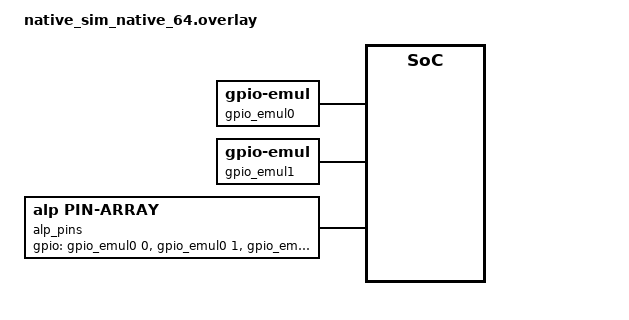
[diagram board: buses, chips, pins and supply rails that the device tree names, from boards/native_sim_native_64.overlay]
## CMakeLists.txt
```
# SPDX-License-Identifier: Apache-2.0

cmake_minimum_required(VERSION 3.20)

find_package(Zephyr REQUIRED HINTS $ENV{ZEPHYR_BASE})
project(vendor_ext_composability LANGUAGES C)

target_sources(app PRIVATE src/main.c)
```

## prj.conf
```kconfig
# SPDX-License-Identifier: Apache-2.0
#
# Intentionally empty.  Every CONFIG_* this app needs is derived
# from board.yaml by `tan build` and layered in via
# EXTRA_CONF_FILE (see scripts/gen_example_alp_conf.py).  Add app-specific tuning
# knobs here only when they are NOT feature-selection -- everything
# declarative belongs in board.yaml.
```

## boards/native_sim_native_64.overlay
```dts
/*
 * Copyright 2026 Alp Lab AB
 * SPDX-License-Identifier: Apache-2.0
 *
 * Host overlay for the vendor-ext composability demo.
 *
 * The alp,pin-array is POSITIONAL: alp_z_gpio_resolve(pin_id) indexes
 * it by the E1M GPIO index, so entry N must be E1M pad N in the
 * e1m_pinout.h canonical order (IO0..25 = 0..25, PWM0..7 = 26..33,
 * ENC0_X..ENC3_Y = 34..41, ADC0..7 = 42..49, DAC0..1 = 50..51).
 *
 * Way 1 of the demo drives ADC1's pad as a plain GPIO, i.e.
 * ALP_E1M_GPIO_ADC1 = index 43.  A gpio-emul controller maxes out at 32
 * pins, so reaching index 43 needs TWO controllers -- this overlay
 * shows the canonical split a full 52-slot board file would use:
 *   indices  0..31 -> gpio_emul0 pins 0..31
 *   indices 32..43 -> gpio_emul1 pins 0..11   (index 43 = pin 11)
 * The array stops at 43, the highest index this demo touches.
 *
 * No ADC controller is wired, so the alp-adc1 alias resolves to a
 * NULL spec and Ways 2/3 take the graceful "skip" path -- the same
 * native_sim contract examples/peripheral-io/adc-voltmeter relies on.
 */

#include <zephyr/dt-bindings/gpio/gpio.h>

/ {
    gpio_emul0: gpio_emul0 {
        compatible = "zephyr,gpio-emul";
        status = "okay";
        gpio-controller;
        rising-edge;
        falling-edge;
        #gpio-cells = <2>;
        ngpios = <32>;
    };

    gpio_emul1: gpio_emul1 {
        compatible = "zephyr,gpio-emul";
        status = "okay";
        gpio-controller;
        rising-edge;
        falling-edge;
        #gpio-cells = <2>;
        ngpios = <32>;
    };

    alp_pins: alp-pins {
        compatible = "alp,pin-array";
        gpios = <&gpio_emul0  0 GPIO_ACTIVE_HIGH>,   /* [ 0] ALP_E1M_GPIO_IO0  */
                <&gpio_emul0  1 GPIO_ACTIVE_HIGH>,   /* [ 1] ALP_E1M_GPIO_IO1  */
                <&gpio_emul0  2 GPIO_ACTIVE_HIGH>,   /* [ 2] ALP_E1M_GPIO_IO2  */
                <&gpio_emul0  3 GPIO_ACTIVE_HIGH>,   /* [ 3] ALP_E1M_GPIO_IO3  */
                <&gpio_emul0  4 GPIO_ACTIVE_HIGH>,   /* [ 4] ALP_E1M_GPIO_IO4  */
                <&gpio_emul0  5 GPIO_ACTIVE_HIGH>,   /* [ 5] ALP_E1M_GPIO_IO5  */
                <&gpio_emul0  6 GPIO_ACTIVE_HIGH>,   /* [ 6] ALP_E1M_GPIO_IO6  */
                <&gpio_emul0  7 GPIO_ACTIVE_HIGH>,   /* [ 7] ALP_E1M_GPIO_IO7  */
                <&gpio_emul0  8 GPIO_ACTIVE_HIGH>,   /* [ 8] ALP_E1M_GPIO_IO8  */
                <&gpio_emul0  9 GPIO_ACTIVE_HIGH>,   /* [ 9] ALP_E1M_GPIO_IO9  */
                <&gpio_emul0 10 GPIO_ACTIVE_HIGH>,   /* [10] ALP_E1M_GPIO_IO10 */
                <&gpio_emul0 11 GPIO_ACTIVE_HIGH>,   /* [11] ALP_E1M_GPIO_IO11 */
                <&gpio_emul0 12 GPIO_ACTIVE_HIGH>,   /* [12] ALP_E1M_GPIO_IO12 */
                <&gpio_emul0 13 GPIO_ACTIVE_HIGH>,   /* [13] ALP_E1M_GPIO_IO13 */
                <&gpio_emul0 14 GPIO_ACTIVE_HIGH>,   /* [14] ALP_E1M_GPIO_IO14 */
                <&gpio_emul0 15 GPIO_ACTIVE_HIGH>,   /* [15] ALP_E1M_GPIO_IO15 */
                <&gpio_emul0 16 GPIO_ACTIVE_HIGH>,   /* [16] ALP_E1M_GPIO_IO16 */
                <&gpio_emul0 17 GPIO_ACTIVE_HIGH>,   /* [17] ALP_E1M_GPIO_IO17 */
                <&gpio_emul0 18 GPIO_ACTIVE_HIGH>,   /* [18] ALP_E1M_GPIO_IO18 */
                <&gpio_emul0 19 GPIO_ACTIVE_HIGH>,   /* [19] ALP_E1M_GPIO_IO19 */
                <&gpio_emul0 20 GPIO_ACTIVE_HIGH>,   /* [20] ALP_E1M_GPIO_IO20 */
                <&gpio_emul0 21 GPIO_ACTIVE_HIGH>,   /* [21] ALP_E1M_GPIO_IO21 */
                <&gpio_emul0 22 GPIO_ACTIVE_HIGH>,   /* [22] ALP_E1M_GPIO_IO22 */
                <&gpio_emul0 23 GPIO_ACTIVE_HIGH>,   /* [23] ALP_E1M_GPIO_IO23 */
                <&gpio_emul0 24 GPIO_ACTIVE_HIGH>,   /* [24] ALP_E1M_GPIO_IO24 */
                <&gpio_emul0 25 GPIO_ACTIVE_HIGH>,   /* [25] ALP_E1M_GPIO_IO25 */
                <&gpio_emul0 26 GPIO_ACTIVE_HIGH>,   /* [26] ALP_E1M_GPIO_PWM0 */
                <&gpio_emul0 27 GPIO_ACTIVE_HIGH>,   /* [27] ALP_E1M_GPIO_PWM1 */
                <&gpio_emul0 28 GPIO_ACTIVE_HIGH>,   /* [28] ALP_E1M_GPIO_PWM2 */
                <&gpio_emul0 29 GPIO_ACTIVE_HIGH>,   /* [29] ALP_E1M_GPIO_PWM3 */
                <&gpio_emul0 30 GPIO_ACTIVE_HIGH>,   /* [30] ALP_E1M_GPIO_PWM4 */
                <&gpio_emul0 31 GPIO_ACTIVE_HIGH>,   /* [31] ALP_E1M_GPIO_PWM5 */
                <&gpio_emul1  0 GPIO_ACTIVE_HIGH>,   /* [32] ALP_E1M_GPIO_PWM6 */
                <&gpio_emul1  1 GPIO_ACTIVE_HIGH>,   /* [33] ALP_E1M_GPIO_PWM7 */
                <&gpio_emul1  2 GPIO_ACTIVE_HIGH>,   /* [34] ALP_E1M_GPIO_ENC0_X */
                <&gpio_emul1  3 GPIO_ACTIVE_HIGH>,   /* [35] ALP_E1M_GPIO_ENC0_Y */
                <&gpio_emul1  4 GPIO_ACTIVE_HIGH>,   /* [36] ALP_E1M_GPIO_ENC1_X */
                <&gpio_emul1  5 GPIO_ACTIVE_HIGH>,   /* [37] ALP_E1M_GPIO_ENC1_Y */
                <&gpio_emul1  6 GPIO_ACTIVE_HIGH>,   /* [38] ALP_E1M_GPIO_ENC2_X */
                <&gpio_emul1  7 GPIO_ACTIVE_HIGH>,   /* [39] ALP_E1M_GPIO_ENC2_Y */
                <&gpio_emul1  8 GPIO_ACTIVE_HIGH>,   /* [40] ALP_E1M_GPIO_ENC3_X */
                <&gpio_emul1  9 GPIO_ACTIVE_HIGH>,   /* [41] ALP_E1M_GPIO_ENC3_Y */
                <&gpio_emul1 10 GPIO_ACTIVE_HIGH>,   /* [42] ALP_E1M_GPIO_ADC0 */
                <&gpio_emul1 11 GPIO_ACTIVE_HIGH>;   /* [43] ALP_E1M_GPIO_ADC1 -- Way 1 drives this pad */
    };
};
```

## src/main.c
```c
/*
 * Copyright 2026 Alp Lab AB
 * SPDX-License-Identifier: Apache-2.0
 *
 * vendor-ext-composability -- one pad, three ways.
 *
 * The Alp SDK's vendor-extension layer (<alp/ext/<vendor>/...>) is
 * ADDITIVE, never exclusive.  Claiming a vendor-specific feature on a
 * pad does NOT lock the pad out of the portable surfaces: the same pad
 * stays usable as a plain digital GPIO and as its portable E1M
 * peripheral.  This example proves that on a single pad -- the Arduino
 * A1 analog input (EVK_ADC_ARDUINO_A1 = ALP_E1M_ADC1) -- by exercising all
 * three surfaces in turn:
 *
 *   Way 1  plain GPIO        alp_gpio_open(ALP_E1M_GPIO_ADC1)
 *                            -- every analog/timer pad has a universal
 *                               GPIO secondary at ALP_E1M_GPIO_<class><N>;
 *                               here ADC1's pad is index 43.
 *   Way 2  portable ADC      alp_adc_open(EVK_ADC_ARDUINO_A1)
 *                            -- the cross-vendor <alp/adc.h> surface,
 *                               identical on every E1M SoM.
 *   Way 3  vendor extension  alp_alif_adc_set_trigger_source(handle)
 *                            -- an Alif-only knob layered ON the Way-2
 *                               handle via <alp/ext/alif/adc.h>.  It
 *                               adds reach the portable API lacks; it
 *                               does not replace it.  On non-Alif
 *                               silicon it returns
 *                               ALP_ERR_NOT_PRESENT_ON_THIS_SOC and the
 *                               portable read from Way 2 is untouched.
 *
 * native_sim wires a GPIO-emul controller (so Way 1 actually toggles
 * the pad) but no ADC controller, so Ways 2/3 take the graceful
 * "skip (last_err=...)" path -- the same NULL-tolerant contract every
 * SDK open() honours.  On a real Alif EVK all three run.
 */

#include <stdio.h>

#include <zephyr/kernel.h>

#include "alp/adc.h"
#include "alp/peripheral.h"                /* alp_gpio_* */
#include "alp/boards/alp_e1m_evk_routes.h" /* EVK_ADC_ARDUINO_A1 */

/* Defensive include: the Alif vendor-extension header only exists when
 * the build targets Alif silicon (CONFIG_ALP_SOC_ALIF_ENSEMBLE_E7 or
 * similar).  __has_include keeps this example compiling on every SoM
 * -- the Way-3 block below compiles out cleanly off-Alif. */
#ifdef __has_include
#if __has_include(<alp/ext/alif/adc.h>)
#include <alp/ext/alif/adc.h>
#endif
#endif

int main(void)
{
	/* Bring up the SDK runtime before anything else -- thin today,
	 * but future backends rely on it (see <alp/peripheral.h>). */
	(void)alp_init();

	printf("[flex] vendor-ext composability: one pad (ALP_E1M_ADC1), three ways\n");

	/* ── Way 1: the pad as a plain digital GPIO ──────────────────
     * The analog peripheral is not "claimed" forever.  An app that
     * doesn't need ADC1's analog function drives its pad digitally
     * through the GPIO-secondary index ALP_E1M_GPIO_ADC1 (= 43 in the
     * positional e1m_pinout.h order).  We open, configure as a
     * push-pull output, drive it, then close -- releasing the pad. */
	alp_gpio_t *as_gpio = alp_gpio_open(ALP_E1M_GPIO_ADC1);
	if (as_gpio != NULL) {
		alp_gpio_configure(as_gpio, ALP_GPIO_OUTPUT, ALP_GPIO_PULL_NONE);
		alp_gpio_write(as_gpio, true);
		printf("[flex] way 1: ALP_E1M_GPIO_ADC1 driven as a digital GPIO output -- ok\n");
		alp_gpio_close(as_gpio);
	} else {
		printf("[flex] way 1: GPIO open skipped (last_err=%d)\n", (int)alp_last_error());
	}

	/* ── Way 2: the same pad as the portable E1M ADC ─────────────
     * Way 1 closed the GPIO handle, so the pad is free again.  Open
     * it as a 12-bit analog input through the portable <alp/adc.h>
     * surface -- the call is byte-identical on AEN, V2N, and every
     * other E1M-conformant SoM. */
	alp_adc_t *adc = alp_adc_open(&(alp_adc_config_t){
	    .channel_id      = EVK_ADC_ARDUINO_A1, /* = ALP_E1M_ADC1 */
	    .resolution_bits = 12,
	    .reference       = ALP_ADC_REF_INTERNAL,
	});
	if (adc == NULL) {
		/* native_sim has no ADC controller, so the alp-adc1 alias
         * resolves to a NULL spec -> NOT_READY.  Ways 2 + 3 are the
         * real-silicon path; the example still exits cleanly. */
		printf("[flex] way 2: ADC open skipped (last_err=%d; native_sim has no ADC)\n",
		       (int)alp_last_error());
		printf("[flex] done\n");
		return 0;
	}

	int32_t      uv = 0;
	alp_status_t s  = alp_adc_read_uv(adc, &uv);
	printf("[flex] way 2: ALP_E1M_ADC1 read as portable ADC -> status=%d uv=%d\n", (int)s, (int)uv);

	/* ── Way 3: an Alif vendor extension, layered ADDITIVELY ─────
     * The extension takes the SAME handle from Way 2 and adds a
     * hardware-trigger-source knob that the portable surface does not
     * expose.  It augments the portable API; it never supplants it --
     * the Way-2 read above already succeeded and would keep working
     * even if this call is unavailable. */
#ifdef ALP_EXT_ALIF_ADC_AVAILABLE
	alp_status_t es = alp_alif_adc_set_trigger_source(adc, ALP_ALIF_ADC_TRIGGER_TIMER0);
	printf("[flex] way 3: alif ext set_trigger_source -> %d "
	       "(additive on the Way-2 handle)\n",
	       (int)es);
#else
	printf("[flex] way 3: <alp/ext/alif/adc.h> not compiled in (non-Alif build); "
	       "the portable Way-2 ADC is unaffected\n");
#endif

	alp_adc_close(adc);
	printf("[flex] done\n");
	return 0;
}
```
